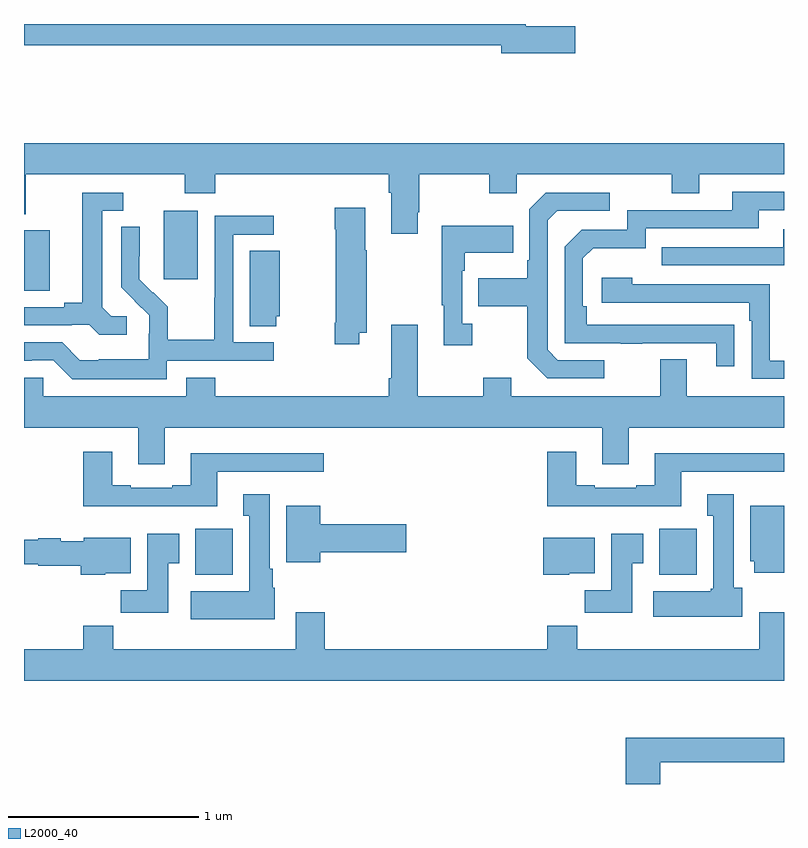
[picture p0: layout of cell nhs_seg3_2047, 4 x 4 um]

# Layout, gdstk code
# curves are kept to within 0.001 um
import gdstk
lib = gdstk.Library(unit=1e-6, precision=1e-09)
def R(c, l, rs):  # rectangles x0, y0, x1, y1
    for r in rs: c.add(gdstk.rectangle(r[:2], r[2:], *l))
def P(c, l, *ps):  # polygons
    for p in ps: c.add(gdstk.Polygon(p, *l))
L2000_40 = (2000, 40)

nhs_seg3_2047 = lib.new_cell('nhs_seg3_2047')
R(nhs_seg3_2047, L2000_40, [(217.901,673.502,218.098,673.744), (220.343,673.502,220.54,673.744), (217,674.995,217.135,675.315), (217.736,675.057,217.915,675.418)])
P(nhs_seg3_2047, L2000_40, [(219.901,676.388),(219.64,676.388),(219.64,676.4),(217,676.4),(217,676.288),(219.512,676.288),(219.512,676.246),(219.901,676.246)],
  [(217,675.4),(217.009,675.4),(217.009,675.608),(217.846,675.608),(217.846,675.509),(218.006,675.509),(218.006,675.608),(218.921,675.608),(218.921,675.512),(218.933,675.512),(218.933,675.297),(219.073,675.297),(219.073,675.409),(219.081,675.409),(219.081,675.608),(219.448,675.608),(219.448,675.509),(219.594,675.509),(219.594,675.608),(220.408,675.608),(220.408,675.509),(220.555,675.509),(220.555,675.608),(221,675.608),(221,675.772),(217,675.772)],
  [(220.739,674.816),(219.962,674.817),(219.962,674.914),(219.942,674.914),(219.942,675.168),(219.995,675.221),(220.272,675.221),(220.272,675.324),(220.867,675.324),(220.867,675.42),(221,675.42),(221,675.516),(220.727,675.516),(220.727,675.42),(220.176,675.42),(220.176,675.318),(219.936,675.318),(219.846,675.228),(219.846,674.721),(220.141,674.721),(220.141,674.716),(220.253,674.716),(220.253,674.721),(220.643,674.721),(220.643,674.598),(220.739,674.598)],
  [(217.54,674.862),(217.458,674.862),(217.411,674.909),(217.411,675.417),(217.522,675.417),(217.522,675.513),(217.307,675.513),(217.307,674.933),(217.211,674.933),(217.211,674.91),(217,674.91),(217,674.814),(217.25,674.814),(217.25,674.817),(217.344,674.817),(217.396,674.765),(217.54,674.765)],
  [(220.054,674.631),(219.81,674.631),(219.756,674.685),(219.756,675.366),(219.807,675.417),(220.084,675.417),(220.084,675.513),(219.747,675.513),(219.66,675.426),(219.66,675.157),(219.648,675.157),(219.648,675.061),(219.391,675.061),(219.391,674.914),(219.648,674.914),(219.648,674.641),(219.753,674.535),(220.054,674.535)],
  [(218.764,674.774),(218.805,674.774),(218.805,675.209),(218.797,675.209),(218.797,675.433),(218.635,675.433),(218.635,675.32),(218.642,675.32),(218.642,674.827),(218.635,674.827),(218.635,674.715),(218.764,674.715)],
  [(217.752,674.628),(218.314,674.628),(218.314,674.724),(218.1,674.724),(218.1,675.291),(218.314,675.291),(218.314,675.39),(218.004,675.39),(218.004,674.96),(218.002,674.96),(218.002,674.737),(217.757,674.737),(217.757,674.911),(217.68,674.988),(217.677,674.985),(217.607,675.056),(217.608,675.332),(217.512,675.332),(217.512,675.014),(217.658,674.866),(217.658,674.769),(217.656,674.769),(217.656,674.635),(217.393,674.635),(217.393,674.631),(217.293,674.631),(217.2,674.724),(217,674.724),(217,674.628),(217.04,674.628),(217.04,674.631),(217.155,674.631),(217.255,674.531),(217.752,674.531)],
  [(219.358,674.822),(219.306,674.822),(219.306,675.101),(219.319,675.101),(219.319,675.197),(219.575,675.197),(219.575,675.337),(219.198,675.337),(219.198,674.921),(219.209,674.921),(219.209,674.709),(219.358,674.709)],
  [(221,675.319),(220.997,675.319),(220.997,675.225),(220.357,675.225),(220.357,675.129),(221,675.129)],
  [(218.328,674.862),(218.347,674.862),(218.347,675.206),(218.189,675.206),(218.189,674.809),(218.328,674.809)],
  [(221,674.628),(220.926,674.628),(220.926,675.03),(220.202,675.03),(220.202,675.064),(220.041,675.064),(220.041,674.934),(220.817,674.934),(220.817,674.837),(220.83,674.837),(220.83,674.532),(221,674.532)],
  [(217.741,674.276),(220.043,674.276),(220.043,674.082),(220.183,674.082),(220.183,674.276),(221,674.276),(221,674.44),(220.489,674.44),(220.489,674.635),(220.349,674.635),(220.349,674.44),(219.565,674.44),(219.565,674.539),(219.418,674.539),(219.418,674.44),(219.073,674.44),(219.073,674.818),(218.933,674.818),(218.933,674.536),(218.921,674.536),(218.921,674.44),(218.006,674.44),(218.006,674.539),(217.853,674.539),(217.853,674.44),(217.101,674.44),(217.101,674.538),(217,674.538),(217,674.276),(217.601,674.276),(217.601,674.082),(217.741,674.082)],
  [(218.017,674.043),(218.578,674.043),(218.578,674.14),(217.877,674.14),(217.877,673.972),(217.781,673.972),(217.781,673.959),(217.561,673.959),(217.561,673.972),(217.465,673.972),(217.465,674.149),(217.313,674.149),(217.313,673.862),(218.017,673.862)],
  [(220.459,674.043),(221,674.043),(221,674.14),(220.319,674.14),(220.319,673.972),(220.223,673.972),(220.223,673.959),(220.003,673.959),(220.003,673.972),(219.907,673.972),(219.907,674.149),(219.755,674.149),(219.755,673.862),(220.459,673.862)],
  [(220.78,673.434),(220.735,673.434),(220.735,673.924),(220.595,673.924),(220.595,673.811),(220.628,673.811),(220.628,673.428),(220.615,673.428),(220.615,673.414),(220.311,673.414),(220.311,673.28),(220.78,673.28)],
  [(218.32,673.434),(218.308,673.434),(218.308,673.534),(218.293,673.534),(218.293,673.924),(218.153,673.924),(218.153,673.811),(218.186,673.811),(218.186,673.414),(217.877,673.414),(217.877,673.268),(218.32,673.268)],
  [(221,673.864),(220.823,673.864),(220.823,673.572),(220.844,673.572),(220.844,673.512),(221,673.512)],
  [(218.56,673.619),(219.013,673.619),(219.013,673.766),(218.56,673.766),(218.56,673.864),(218.381,673.864),(218.381,673.568),(218.56,673.568)],
  [(217.759,673.561),(217.816,673.561),(217.816,673.717),(217.649,673.717),(217.649,673.42),(217.51,673.42),(217.51,673.302),(217.759,673.302)],
  [(220.201,673.561),(220.258,673.561),(220.258,673.717),(220.091,673.717),(220.091,673.42),(219.952,673.42),(219.952,673.302),(220.201,673.302)],
  [(217.428,673.508),(217.561,673.508),(217.561,673.696),(217.314,673.696),(217.314,673.678),(217.194,673.678),(217.194,673.693),(217.074,673.693),(217.074,673.685),(217,673.685),(217,673.557),(217.074,673.557),(217.074,673.549),(217.298,673.549),(217.298,673.502),(217.428,673.502)],
  [(219.87,673.508),(220.003,673.508),(220.003,673.696),(219.734,673.696),(219.734,673.502),(219.87,673.502)],
  [(221,673.303),(220.871,673.303),(220.871,673.108),(219.911,673.108),(219.911,673.232),(219.755,673.232),(219.755,673.108),(218.582,673.108),(218.582,673.303),(218.429,673.303),(218.429,673.108),(217.469,673.108),(217.469,673.232),(217.313,673.232),(217.313,673.108),(217,673.108),(217,672.944),(221,672.944)],
  [(220.349,672.514),(221,672.514),(221,672.643),(220.166,672.643),(220.166,672.4),(220.349,672.4)])

lib.write_gds('nhs_seg3_2047.gds')
